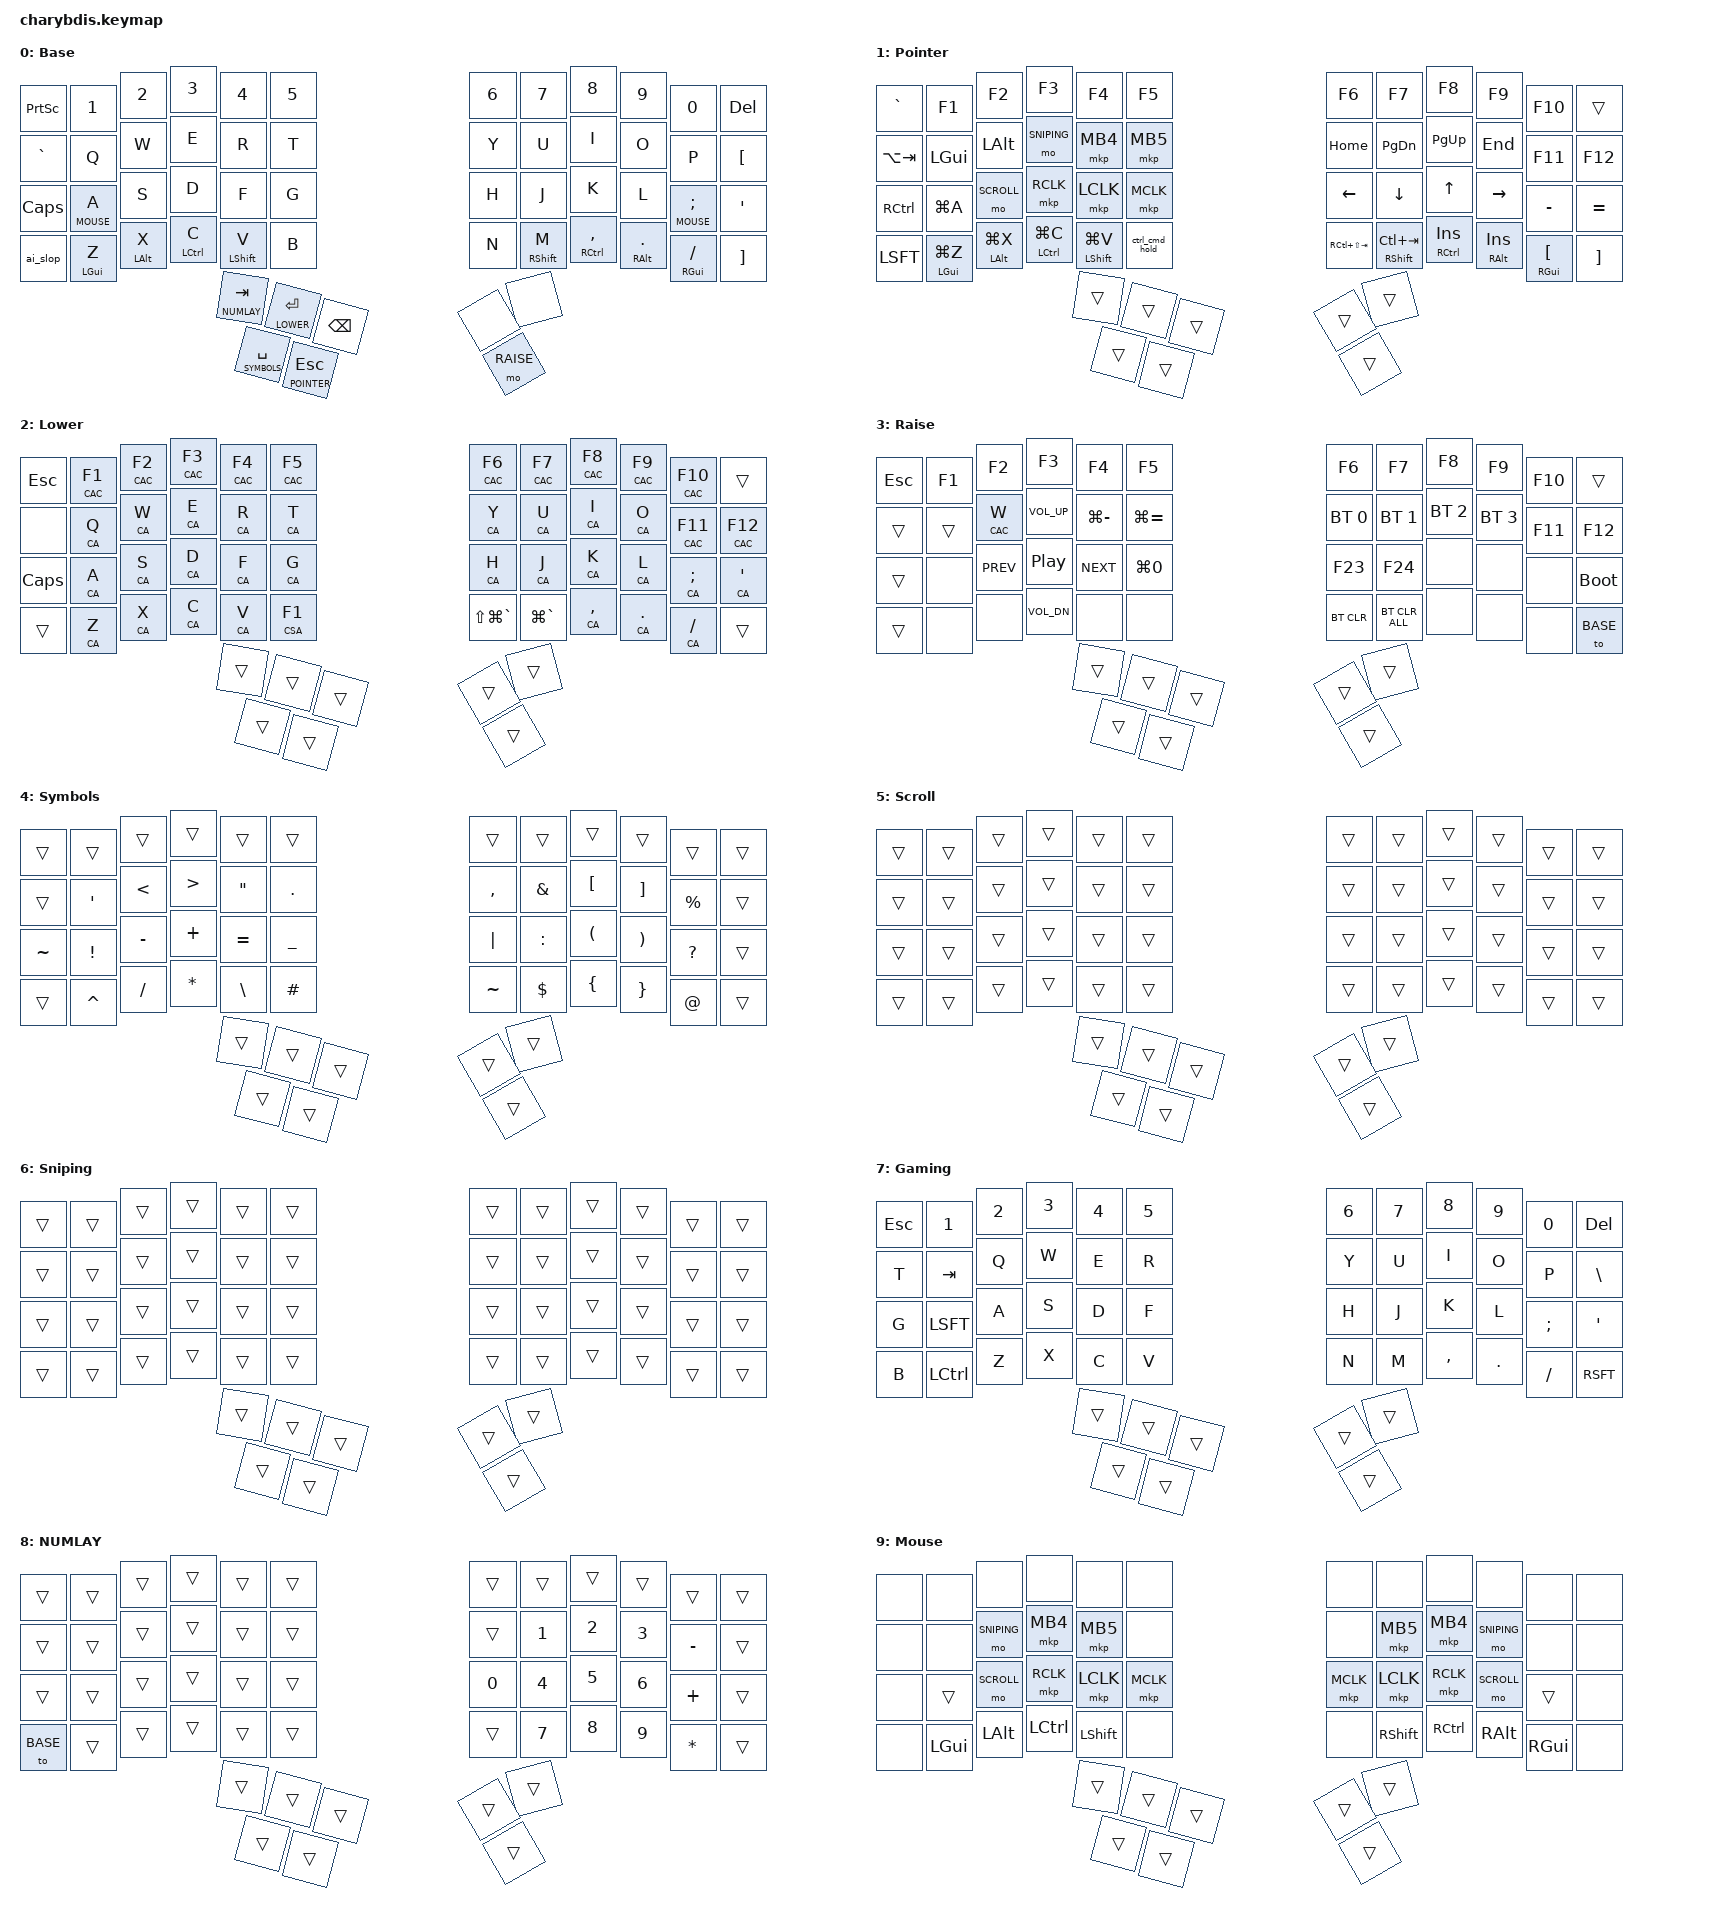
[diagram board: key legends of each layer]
#include <dt-bindings/zmk/mouse.h>
#include <behaviors/mouse_keys.dtsi>
#include <behaviors.dtsi>
#include <dt-bindings/zmk/bt.h>
#include <dt-bindings/zmk/keys.h>
#include <dt-bindings/zmk/outputs.h>
#include <dt-bindings/zmk/pointing.h>

/ {
    chosen { zmk,physical-layout = &charybdis_6col_layout; };
};

&mt {
    quick-tap-ms = <200>;
    flavor = "tap-preferred";
    tapping-term-ms = <170>;
};

&lt {
    quick-tap-ms = <200>;
    flavor = "tap-preferred";
    tapping-term-ms = <170>;
};

// Layer definitions
#define BASE 0
#define POINTER 1
#define LOWER 2
#define RAISE 3
#define SYMBOLS 4
#define SCROLL 5
#define SNIPING 6
#define GAMING 7
#define NUMLAY 8
#define MOUSE 9

/ {
  behaviors {
    // Hold-tap behavior for layer with tap-preferred
    blt: blt {
      compatible = "zmk,behavior-hold-tap";
      #binding-cells = <2>;
      flavor = "tap-preferred";
      tapping-term-ms = <200>;
      quick-tap-ms = <300>;
      require-prior-idle-ms = <100>;
      bindings = <&mo>, <&kp>;
    };

    // Tap-dance for GUI/Ctrl+B
    gui_ctrlb: gui_ctrlb {
      compatible = "zmk,behavior-tap-dance";
      #binding-cells = <0>;
      tapping-term-ms = <200>;
      bindings = <&kp LGUI>, <&kp LC(B)>;
    };

    // Tap/hold Alt, double-tap Ctrl+Shift+Z
    lalt_dt: lalt_dt {
      compatible = "zmk,behavior-tap-dance";
      #binding-cells = <0>;
      tapping-term-ms = <200>;
      bindings = <&kp LALT>, <&kp LC(LS(Z))>;
    };

    // Home row mods - Left hand
    hml: home_row_mod_left {
      compatible = "zmk,behavior-hold-tap";
      #binding-cells = <2>;
      flavor = "balanced";
      require-prior-idle-ms = <150>;
      tapping-term-ms = <280>;
      quick-tap-ms = <175>;
      bindings = <&kp>, <&kp>;
      hold-trigger-key-positions = <6 7 8 9 10 11 18 19 20 21 22 23 30 31 32 33 34 35 42 43 44 45 46 47 53 54 55>; // Right side keys
      hold-trigger-on-release;
    };

    // Home row mods - Right hand
    hmr: home_row_mod_right {
      compatible = "zmk,behavior-hold-tap";
      #binding-cells = <2>;
      flavor = "balanced";
      require-prior-idle-ms = <150>;
      tapping-term-ms = <280>;
      quick-tap-ms = <175>;
      bindings = <&kp>, <&kp>;
      hold-trigger-key-positions = <0 1 2 3 4 5 12 13 14 15 16 17 24 25 26 27 28 29 36 37 38 39 40 41 48 49 50 51 52>; // Left side keys
      hold-trigger-on-release;
    };
  };

  macros {
    // Ctrl+Alt+Cmd macro
    CAC: CAC {
      compatible = "zmk,behavior-macro-one-param";
      #binding-cells = <1>;
      bindings
        = <&macro_press &kp LCTRL &kp LALT &kp LGUI>
        , <&macro_param_1to1>
        , <&macro_tap &kp MACRO_PLACEHOLDER>
        , <&macro_release &kp LCTRL &kp LALT &kp LGUI>
        ;
    };

    // Ctrl+Shift+Alt macro
    CSA: CSA {
      compatible = "zmk,behavior-macro-one-param";
      #binding-cells = <1>;
      bindings
        = <&macro_press &kp LCTRL &kp LSHIFT &kp LALT>
        , <&macro_param_1to1>
        , <&macro_tap &kp MACRO_PLACEHOLDER>
        , <&macro_release &kp LCTRL &kp LSHIFT &kp LALT>
        ;
    };

    // Ctrl+Alt macro
    CA: CA {
      compatible = "zmk,behavior-macro-one-param";
      #binding-cells = <1>;
      bindings
        = <&macro_press &kp LCTRL &kp LALT>
        , <&macro_param_1to1>
        , <&macro_tap &kp MACRO_PLACEHOLDER>
        , <&macro_release &kp LCTRL &kp LALT>
        ;
    };

    // Hold Ctrl+Cmd+Left Click while key is pressed (for mouse drag window actions)
    ctrl_cmd_hold: ctrl_cmd_hold {
      compatible = "zmk,behavior-macro";
      wait-ms = <0>;
      tap-ms = <10>;
      #binding-cells = <0>;
      bindings
        = <&macro_press &kp LCTRL &kp LGUI &mkp LCLK>
        , <&macro_pause_for_release>
        , <&macro_release &mkp LCLK &kp LCTRL &kp LGUI>
        ;
    };

    ai_slop: ai_slop {
      compatible = "zmk,behavior-macro";
      wait-ms = <0>;
      tap-ms = <10>;
      #binding-cells = <0>;
      bindings
        = <&macro_press &kp LSHIFT>
        , <&macro_tap &kp A>
        , <&macro_tap &kp I>
        , <&macro_release &kp LSHIFT>
        , <&macro_tap &kp SPACE>
        , <&macro_tap &kp S>
        , <&macro_tap &kp L>
        , <&macro_tap &kp O>
        , <&macro_tap &kp P>
        ;
    };
  };

  combos {
    compatible = "zmk,combos";
    timeout-ms = <20>;
    require-prior-idle-ms = <250>;

    // Studio Unlock Combo - all three right thumb keys
    combo_studio_unlock {
      timeout-ms = <50>;
      key-positions = <53 54 47>;
      bindings = <&studio_unlock>;
    };

    // Gaming layer toggle combo - keys 49, 55, 54
    combo_gaming_toggle {
      timeout-ms = <50>;
      key-positions = <49 55 54>;
      bindings = <&tog GAMING>;
    };

  };

  keymap {
    compatible = "zmk,keymap";

    base_layer {
      label = "BASE";
      display-name = "Base";
      bindings = <
// ╭─────────────┬─────────────┬─────────────┬─────────────┬─────────────┬─────────────╮   ╭─────────────┬─────────────┬─────────────┬─────────────┬─────────────┬─────────────╮
    &kp PSCRN       &kp N1        &kp N2        &kp N3        &kp N4        &kp N5            &kp N6        &kp N7        &kp N8        &kp N9      &kp N0        &kp DEL
// ├─────────────┼─────────────┼─────────────┼─────────────┼─────────────┼─────────────┤   ├─────────────┼─────────────┼─────────────┼─────────────┼─────────────┼─────────────┤
    &kp GRAVE       &kp Q         &kp W         &kp E         &kp R         &kp T             &kp Y         &kp U         &kp I         &kp O       &kp P         &kp LBKT
// ├─────────────┼─────────────┼─────────────┼─────────────┼─────────────┼─────────────┤   ├─────────────┼─────────────┼─────────────┼─────────────┼─────────────┼─────────────┤
    &kp CAPS        &blt MOUSE A  &kp S         &kp D         &kp F         &kp G             &kp H         &kp J         &kp K         &kp L       &blt MOUSE SEMI &kp SQT
// ├─────────────┼─────────────┼─────────────┼─────────────┼─────────────┼─────────────┤   ├─────────────┼─────────────┼─────────────┼─────────────┼─────────────┼─────────────┤
    &ai_slop        &hml LGUI Z   &hml LALT X   &hml LCTRL C  &hml LSHIFT V &kp B             &kp N         &hmr RSHIFT M &hmr RCTRL COMMA &hmr RALT DOT &hmr RGUI FSLH &kp RBKT
// ╰─────────────┴─────────────┴─────────────┴─────────────┴─────────────┴─────────────╯   ╰─────────────┴─────────────┴─────────────┴─────────────┴─────────────┴─────────────╯
//                                           ╭─────────────┬─────────────┬─────────────╮   ╭─────────────┬─────────────╮
                                              &kp BSPC   &blt POINTER ESC &blt NUMLAY TAB   &blt LOWER RET &blt SYMBOLS SPACE
//                                           ╰─────────────┼─────────────┼─────────────┤   ├─────────────┼─────────────╯
                                                            &mo RAISE        &none            &none
//                                                         ╰─────────────┴─────────────╯   ╰─────────────╯
      >;
    };

    pointer_layer {
      label = "POINTER";
      display-name = "Pointer";
      bindings = <
// ╭─────────────┬─────────────┬─────────────┬─────────────┬─────────────┬─────────────╮   ╭─────────────┬─────────────┬─────────────┬─────────────┬─────────────┬─────────────╮
    &kp GRAVE     &kp F1        &kp F2        &kp F3        &kp F4        &kp F5            &kp F6        &kp F7        &kp F8        &kp F9        &kp F10       &trans
// ├─────────────┼─────────────┼─────────────┼─────────────┼─────────────┼─────────────┤   ├─────────────┼─────────────┼─────────────┼─────────────┼─────────────┼─────────────┤
    &kp LA(TAB)   &kp LGUI      &kp LALT      &mo SNIPING   &mkp MB4      &mkp MB5          &kp HOME      &kp PG_DN     &kp PG_UP     &kp END       &kp F11       &kp F12
// ├─────────────┼─────────────┼─────────────┼─────────────┼─────────────┼─────────────┤   ├─────────────┼─────────────┼─────────────┼─────────────┼─────────────┼─────────────┤
    &kp RCTRL     &kp LG(A)     &mo SCROLL     &mkp RCLK    &mkp LCLK     &mkp MCLK         &kp LEFT      &kp DOWN      &kp UP        &kp RIGHT     &kp MINUS     &kp EQUAL
// ├─────────────┼─────────────┼─────────────┼─────────────┼─────────────┼─────────────┤   ├─────────────┼─────────────┼─────────────┼─────────────┼─────────────┼─────────────┤
    &kp LSFT      &hml LGUI LG(Z) &hml LALT LG(X) &hml LCTRL LG(C) &hml LSHIFT LG(V) &ctrl_cmd_hold    &kp RC(LS(TAB)) &hmr RSHIFT LC(TAB) &hmr RCTRL INS &hmr RALT INS &hmr RGUI LBKT &kp RBKT
// ╰─────────────┴─────────────┴─────────────┴─────────────┴─────────────┴─────────────╯   ╰─────────────┴─────────────┴─────────────┴─────────────┴─────────────┴─────────────╯
//                                           ╭─────────────┬─────────────┬─────────────╮   ╭─────────────┬─────────────╮
                                                 &trans        &trans        &trans            &trans        &trans
//                                           ╰─────────────┼─────────────┼─────────────┤   ├─────────────┼─────────────╯
                                                               &trans        &trans            &trans
//                                                         ╰─────────────┴─────────────╯   ╰─────────────╯
      >;
    };

    lower_layer {
      label = "LOWER";
      display-name = "Lower";
      bindings = <
// ╭─────────────┬─────────────┬─────────────┬─────────────┬─────────────┬─────────────╮   ╭─────────────┬─────────────┬─────────────┬─────────────┬─────────────┬─────────────╮
    &kp ESC       &CAC F1       &CAC F2       &CAC F3       &CAC F4       &CAC F5           &CAC F6       &CAC F7       &CAC F8       &CAC F9       &CAC F10      &trans
// ├─────────────┼─────────────┼─────────────┼─────────────┼─────────────┼─────────────┤   ├─────────────┼─────────────┼─────────────┼─────────────┼─────────────┼─────────────┤
    &none         &CA Q         &CA W         &CA E         &CA R         &CA T             &CA Y         &CA U         &CA I         &CA O         &CAC F11      &CAC F12
// ├─────────────┼─────────────┼─────────────┼─────────────┼─────────────┼─────────────┤   ├─────────────┼─────────────┼─────────────┼─────────────┼─────────────┼─────────────┤
    &kp CAPS      &CA A         &CA S         &CA D         &CA F         &CA G             &CA H         &CA J         &CA K         &CA L         &CA SEMI      &CA SQT
// ├─────────────┼─────────────┼─────────────┼─────────────┼─────────────┼─────────────┤   ├─────────────┼─────────────┼─────────────┼─────────────┼─────────────┼─────────────┤
    &trans        &CA Z         &CA X         &CA C         &CA V         &CSA F1           &kp LS(LG(GRAVE)) &kp LG(GRAVE) &CA COMMA     &CA DOT       &CA FSLH      &trans
// ╰─────────────┴─────────────┴─────────────┴─────────────┴─────────────┴─────────────╯   ╰─────────────┴─────────────┴─────────────┴─────────────┴─────────────┴─────────────╯
//                                           ╭─────────────┬─────────────┬─────────────╮   ╭─────────────┬─────────────╮
                                                 &trans        &trans        &trans            &trans        &trans
//                                           ╰─────────────┼─────────────┼─────────────┤   ├─────────────┼─────────────╯
                                                               &trans        &trans            &trans
//                                                         ╰─────────────┴─────────────╯   ╰─────────────╯
      >;
    };

    raise_layer {
      label = "RAISE";
      display-name = "Raise";
      bindings = <
// ╭─────────────┬─────────────┬─────────────┬─────────────┬─────────────┬─────────────╮   ╭─────────────┬─────────────┬─────────────┬─────────────┬─────────────┬─────────────╮
    &kp ESC       &kp F1        &kp F2        &kp F3        &kp F4        &kp F5            &kp F6        &kp F7        &kp F8        &kp F9        &kp F10       &trans
// ├─────────────┼─────────────┼─────────────┼─────────────┼─────────────┼─────────────┤   ├─────────────┼─────────────┼─────────────┼─────────────┼─────────────┼─────────────┤
    &trans        &trans       &CAC W        &kp C_VOL_UP  &kp LG(MINUS) &kp LG(EQUAL)     &bt BT_SEL 0  &bt BT_SEL 1  &bt BT_SEL 2  &bt BT_SEL 3  &kp F11       &kp F12
// ├─────────────┼─────────────┼─────────────┼─────────────┼─────────────┼─────────────┤   ├─────────────┼─────────────┼─────────────┼─────────────┼─────────────┼─────────────┤
    &trans        &none         &kp C_PREV    &kp C_PP      &kp C_NEXT    &kp LG(N0)        &kp F23       &kp F24       &none         &none         &none         &bootloader
// ├─────────────┼─────────────┼─────────────┼─────────────┼─────────────┼─────────────┤   ├─────────────┼─────────────┼─────────────┼─────────────┼─────────────┼─────────────┤
    &trans        &none         &none         &kp C_VOL_DN  &none         &none             &bt BT_CLR    &bt BT_CLR_ALL &none        &none         &none         &to BASE
// ╰─────────────┴─────────────┴─────────────┴─────────────┴─────────────┴─────────────╯   ╰─────────────┴─────────────┴─────────────┴─────────────┴─────────────┴─────────────╯
//                                           ╭─────────────┬─────────────┬─────────────╮   ╭─────────────┬─────────────╮
                                                 &trans        &trans        &trans            &trans        &trans
//                                           ╰─────────────┼─────────────┼─────────────┤   ├─────────────┼─────────────╯
                                                               &trans        &trans            &trans
//                                                         ╰─────────────┴─────────────╯   ╰─────────────╯
      >;
    };

    symbols_layer {
      label = "SYMBOLS";
      display-name = "Symbols";
      bindings = <
// ╭─────────────┬─────────────┬─────────────┬─────────────┬─────────────┬─────────────╮   ╭─────────────┬─────────────┬─────────────┬─────────────┬─────────────┬─────────────╮
    &trans        &trans        &trans        &trans        &trans        &trans            &trans        &trans        &trans        &trans        &trans        &trans
// ├─────────────┼─────────────┼─────────────┼─────────────┼─────────────┼─────────────┤   ├─────────────┼─────────────┼─────────────┼─────────────┼─────────────┼─────────────┤
    &trans        &kp SQT       &kp LT        &kp GT        &kp DQT       &kp DOT           &kp COMMA     &kp AMPS      &kp LBKT      &kp RBKT      &kp PRCNT     &trans
// ├─────────────┼─────────────┼─────────────┼─────────────┼─────────────┼─────────────┤   ├─────────────┼─────────────┼─────────────┼─────────────┼─────────────┼─────────────┤
    &kp TILDE     &kp EXCL      &kp MINUS     &kp PLUS      &kp EQUAL     &kp UNDER         &kp PIPE      &kp COLON     &kp LPAR      &kp RPAR      &kp QMARK     &trans
// ├─────────────┼─────────────┼─────────────┼─────────────┼─────────────┼─────────────┤   ├─────────────┼─────────────┼─────────────┼─────────────┼─────────────┼─────────────┤
    &trans        &kp CARET     &kp FSLH      &kp ASTRK     &kp BSLH      &kp HASH          &kp TILDE     &kp DLLR      &kp LBRC      &kp RBRC      &kp AT        &trans
// ╰─────────────┴─────────────┴─────────────┴─────────────┴─────────────┴─────────────╯   ╰─────────────┴─────────────┴─────────────┴─────────────┴─────────────┴─────────────╯
//                                           ╭─────────────┬─────────────┬─────────────╮   ╭─────────────┬─────────────╮
                                                 &trans        &trans        &trans            &trans        &trans
//                                           ╰─────────────┼─────────────┼─────────────┤   ├─────────────┼─────────────╯
                                                               &trans        &trans            &trans
//                                                         ╰─────────────┴─────────────╯   ╰─────────────╯
      >;
    };

    scroll_layer {
      label = "SCROLL";
      display-name = "Scroll";
      bindings = <
// ╭─────────────┬─────────────┬─────────────┬─────────────┬─────────────┬─────────────╮   ╭─────────────┬─────────────┬─────────────┬─────────────┬─────────────┬─────────────╮
    &trans        &trans        &trans        &trans        &trans        &trans            &trans        &trans        &trans        &trans        &trans        &trans
// ├─────────────┼─────────────┼─────────────┼─────────────┼─────────────┼─────────────┤   ├─────────────┼─────────────┼─────────────┼─────────────┼─────────────┼─────────────┤
    &trans        &trans        &trans        &trans        &trans        &trans            &trans        &trans        &trans        &trans        &trans        &trans
// ├─────────────┼─────────────┼─────────────┼─────────────┼─────────────┼─────────────┤   ├─────────────┼─────────────┼─────────────┼─────────────┼─────────────┼─────────────┤
    &trans        &trans        &trans        &trans        &trans        &trans            &trans        &trans        &trans        &trans        &trans        &trans
// ├─────────────┼─────────────┼─────────────┼─────────────┼─────────────┼─────────────┤   ├─────────────┼─────────────┼─────────────┼─────────────┼─────────────┼─────────────┤
    &trans        &trans        &trans        &trans        &trans        &trans            &trans        &trans        &trans        &trans        &trans        &trans
// ╰─────────────┴─────────────┴─────────────┴─────────────┴─────────────┴─────────────╯   ╰─────────────┴─────────────┴─────────────┴─────────────┴─────────────┴─────────────╯
//                                           ╭─────────────┬─────────────┬─────────────╮   ╭─────────────┬─────────────╮
                                                 &trans        &trans        &trans            &trans        &trans
//                                           ╰─────────────┼─────────────┼─────────────┤   ├─────────────┼─────────────╯
                                                               &trans        &trans            &trans
//                                                         ╰─────────────┴─────────────╯   ╰─────────────╯
      >;
    };

    sniping_layer {
      label = "SNIPING";
      display-name = "Sniping";
      bindings = <
// ╭─────────────┬─────────────┬─────────────┬─────────────┬─────────────┬─────────────╮   ╭─────────────┬─────────────┬─────────────┬─────────────┬─────────────┬─────────────╮
    &trans        &trans        &trans        &trans        &trans        &trans            &trans        &trans        &trans        &trans        &trans        &trans
// ├─────────────┼─────────────┼─────────────┼─────────────┼─────────────┼─────────────┤   ├─────────────┼─────────────┼─────────────┼─────────────┼─────────────┼─────────────┤
    &trans        &trans        &trans        &trans        &trans        &trans            &trans        &trans        &trans        &trans        &trans        &trans
// ├─────────────┼─────────────┼─────────────┼─────────────┼─────────────┼─────────────┤   ├─────────────┼─────────────┼─────────────┼─────────────┼─────────────┼─────────────┤
    &trans        &trans        &trans        &trans        &trans        &trans            &trans        &trans        &trans        &trans        &trans        &trans
// ├─────────────┼─────────────┼─────────────┼─────────────┼─────────────┼─────────────┤   ├─────────────┼─────────────┼─────────────┼─────────────┼─────────────┼─────────────┤
    &trans        &trans        &trans        &trans        &trans        &trans            &trans        &trans        &trans        &trans        &trans        &trans
// ╰─────────────┴─────────────┴─────────────┴─────────────┴─────────────┴─────────────╯   ╰─────────────┴─────────────┴─────────────┴─────────────┴─────────────┴─────────────╯
//                                           ╭─────────────┬─────────────┬─────────────╮   ╭─────────────┬─────────────╮
                                                 &trans        &trans        &trans            &trans        &trans
//                                           ╰─────────────┼─────────────┼─────────────┤   ├─────────────┼─────────────╯
                                                               &trans        &trans            &trans
//                                                         ╰─────────────┴─────────────╯   ╰─────────────╯
      >;
    };

    gaming_layer {
      label = "GAMING";
      display-name = "Gaming";
      bindings = <
// ╭─────────────┬─────────────┬─────────────┬─────────────┬─────────────┬─────────────╮   ╭─────────────┬─────────────┬─────────────┬─────────────┬─────────────┬─────────────╮
    &kp ESC       &kp N1       &kp N2        &kp N3        &kp N4        &kp N5            &kp N6        &kp N7        &kp N8        &kp N9        &kp N0        &kp DEL
// ├─────────────┼─────────────┼─────────────┼─────────────┼─────────────┼─────────────┤   ├─────────────┼─────────────┼─────────────┼─────────────┼─────────────┼─────────────┤
    &kp T        &kp TAB       &kp Q         &kp W         &kp E         &kp R             &kp Y         &kp U         &kp I         &kp O         &kp P         &kp BSLH
// ├─────────────┼─────────────┼─────────────┼─────────────┼─────────────┼─────────────┤   ├─────────────┼─────────────┼─────────────┼─────────────┼─────────────┼─────────────┤
    &kp G        &kp LSFT      &kp A         &kp S         &kp D         &kp F             &kp H         &kp J         &kp K         &kp L         &kp SEMI      &kp SQT
// ├─────────────┼─────────────┼─────────────┼─────────────┼─────────────┼─────────────┤   ├─────────────┼─────────────┼─────────────┼─────────────┼─────────────┼─────────────┤
    &kp B        &kp LCTRL     &kp Z         &kp X         &kp C         &kp V             &kp N         &kp M         &kp COMMA     &kp DOT       &kp FSLH      &kp RSFT
// ╰─────────────┴─────────────┴─────────────┴─────────────┴─────────────┴─────────────╯   ╰─────────────┴─────────────┴─────────────┴─────────────┴─────────────┴─────────────╯
//                                           ╭─────────────┬─────────────┬─────────────╮   ╭─────────────┬─────────────╮
                                                 &trans        &trans        &trans            &trans        &trans
//                                           ╰─────────────┼─────────────┼─────────────┤   ├─────────────┼─────────────╯
                                                               &trans        &trans            &trans
//                                                         ╰─────────────┴─────────────╯   ╰─────────────╯
      >;
    };

    number_layer {
      label = "NUMLAY";
      display-name = "NUMLAY";
      bindings = <
// ╭─────────────┬─────────────┬─────────────┬─────────────┬─────────────┬─────────────╮   ╭─────────────┬─────────────┬─────────────┬─────────────┬─────────────┬─────────────╮
    &trans        &trans        &trans        &trans        &trans        &trans            &trans        &trans        &trans        &trans        &trans        &trans
// ├─────────────┼─────────────┼─────────────┼─────────────┼─────────────┼─────────────┤   ├─────────────┼─────────────┼─────────────┼─────────────┼─────────────┼─────────────┤
    &trans        &trans        &trans        &trans        &trans        &trans            &trans        &kp N1        &kp N2        &kp N3        &kp MINUS       &trans
// ├─────────────┼─────────────┼─────────────┼─────────────┼─────────────┼─────────────┤   ├─────────────┼─────────────┼─────────────┼─────────────┼─────────────┼─────────────┤
    &trans        &trans        &trans        &trans        &trans        &trans            &kp N0        &kp N4        &kp N5        &kp N6        &kp PLUS        &trans
// ├─────────────┼─────────────┼─────────────┼─────────────┼─────────────┼─────────────┤   ├─────────────┼─────────────┼─────────────┼─────────────┼─────────────┼─────────────┤
    &to BASE      &trans        &trans        &trans        &trans        &trans            &trans        &kp N7        &kp N8        &kp N9        &kp ASTRK       &trans
// ╰─────────────┴─────────────┴─────────────┴─────────────┴─────────────┴─────────────╯   ╰─────────────┴─────────────┴─────────────┴─────────────┴─────────────┴─────────────╯
//                                           ╭─────────────┬─────────────┬─────────────╮   ╭─────────────┬─────────────╮
                                                 &trans        &trans        &trans            &trans        &trans
//                                           ╰─────────────┼─────────────┼─────────────┤   ├─────────────┼─────────────╯
                                                               &trans        &trans            &trans
//                                                         ╰─────────────┴─────────────╯   ╰─────────────╯
      >;
    };

    mouse_layer {
      label = "MOUSE";
      display-name = "Mouse";
      bindings = <
// ╭─────────────┬─────────────┬─────────────┬─────────────┬─────────────┬─────────────╮   ╭─────────────┬─────────────┬─────────────┬─────────────┬─────────────┬─────────────╮
    &none         &none         &none         &none         &none         &none             &none         &none         &none         &none         &none         &none
// ├─────────────┼─────────────┼─────────────┼─────────────┼─────────────┼─────────────┤   ├─────────────┼─────────────┼─────────────┼─────────────┼─────────────┼─────────────┤
    &none         &none         &mo SNIPING   &mkp MB4      &mkp MB5      &none             &none         &mkp MB5      &mkp MB4      &mo SNIPING   &none         &none
// ├─────────────┼─────────────┼─────────────┼─────────────┼─────────────┼─────────────┤   ├─────────────┼─────────────┼─────────────┼─────────────┼─────────────┼─────────────┤
    &none         &trans        &mo SCROLL    &mkp RCLK     &mkp LCLK     &mkp MCLK         &mkp MCLK     &mkp LCLK     &mkp RCLK     &mo SCROLL    &trans        &none
// ├─────────────┼─────────────┼─────────────┼─────────────┼─────────────┼─────────────┤   ├─────────────┼─────────────┼─────────────┼─────────────┼─────────────┼─────────────┤
    &none         &kp LGUI      &kp LALT      &kp LCTRL     &kp LSHIFT    &none             &none         &kp RSHIFT    &kp RCTRL     &kp RALT      &kp RGUI      &none
// ╰─────────────┴─────────────┴─────────────┴─────────────┴─────────────┴─────────────╯   ╰─────────────┴─────────────┴─────────────┴─────────────┴─────────────┴─────────────╯
//                                           ╭─────────────┬─────────────┬─────────────╮   ╭─────────────┬─────────────╮
                                                 &trans        &trans        &trans            &trans        &trans
//                                           ╰─────────────┼─────────────┼─────────────┤   ├─────────────┼─────────────╯
                                                               &trans        &trans            &trans
//                                                         ╰─────────────┴─────────────╯   ╰─────────────╯
      >;
    };

  };
};
